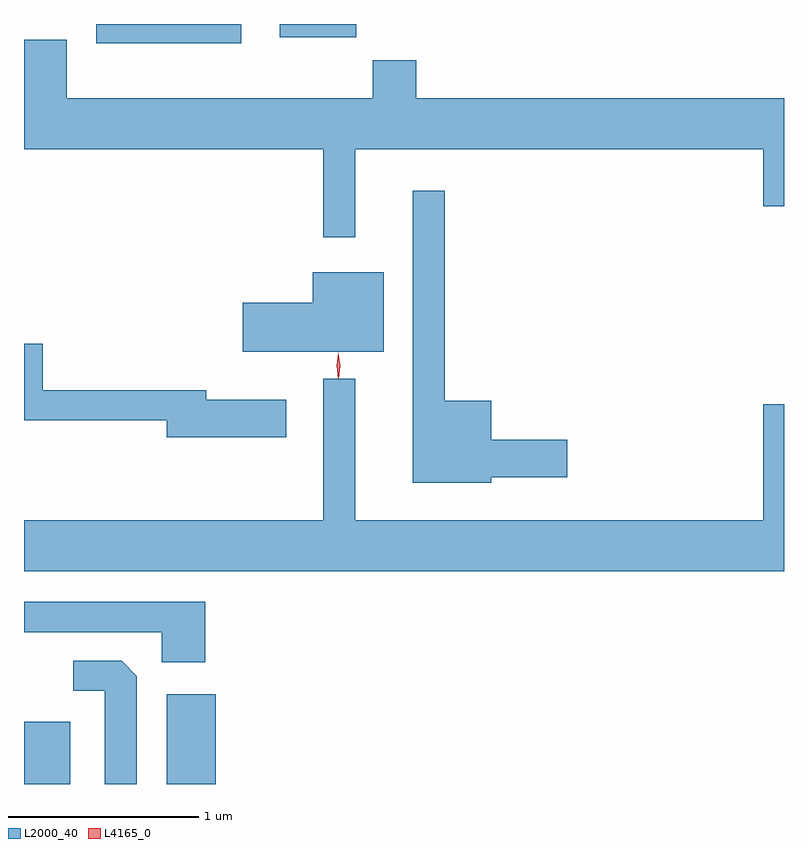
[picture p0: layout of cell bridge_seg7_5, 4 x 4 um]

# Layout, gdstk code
import gdstk
lib = gdstk.Library(unit=1e-6, precision=1e-09)
def R(c, l, rs):  # rectangles x0, y0, x1, y1
    for r in rs: c.add(gdstk.rectangle(r[:2], r[2:], *l))
def P(c, l, *ps):  # polygons
    for p in ps: c.add(gdstk.Polygon(p, *l))
L2000_40 = (2000, 40)
L4165_0 = (4165, 0)

bridge_seg7_5 = lib.new_cell('bridge_seg7_5')
R(bridge_seg7_5, L2000_40, [(1669.725,1757.596,1669.969,1757.924), (1670.476,1757.596,1670.734,1758.069), (1670.106,1761.496,1670.869,1761.596), (1671.071,1761.526,1671.474,1761.596)])
P(bridge_seg7_5, L2000_40, [(1671.469,1760.936),(1673.616,1760.936),(1673.616,1760.636),(1673.725,1760.636),(1673.725,1761.204),(1671.789,1761.204),(1671.789,1761.404),(1671.561,1761.404),(1671.561,1761.204),(1669.949,1761.204),(1669.949,1761.514),(1669.725,1761.514),(1669.725,1760.936),(1671.301,1760.936),(1671.301,1760.473),(1671.469,1760.473)],
  [(1672.184,1759.211),(1672.584,1759.211),(1672.584,1759.409),(1672.184,1759.409),(1672.184,1759.614),(1671.939,1759.614),(1671.939,1760.718),(1671.771,1760.718),(1671.771,1759.181),(1672.184,1759.181)],
  [(1671.619,1760.289),(1671.246,1760.289),(1671.246,1760.129),(1670.876,1760.129),(1670.876,1759.871),(1671.619,1759.871)],
  [(1671.104,1759.619),(1670.684,1759.619),(1670.684,1759.669),(1669.824,1759.669),(1669.824,1759.914),(1669.725,1759.914),(1669.725,1759.511),(1670.476,1759.511),(1670.476,1759.421),(1671.104,1759.421)],
  [(1673.725,1759.594),(1673.616,1759.594),(1673.616,1758.984),(1671.469,1758.984),(1671.469,1759.728),(1671.301,1759.728),(1671.301,1758.984),(1669.725,1758.984),(1669.725,1758.716),(1673.725,1758.716)],
  [(1670.679,1758.554),(1669.725,1758.554),(1669.725,1758.396),(1670.451,1758.396),(1670.451,1758.236),(1670.679,1758.236)],
  [(1670.319,1758.164),(1670.239,1758.244),(1669.983,1758.244),(1669.983,1758.086),(1670.151,1758.086),(1670.151,1757.596),(1670.319,1757.596)])
P(bridge_seg7_5, L4165_0, [(1671.38,1759.733),(1671.38,1759.733),(1671.37,1759.796),(1671.379,1759.859),(1671.379,1759.859),(1671.38,1759.859),(1671.39,1759.796),(1671.381,1759.733)],
  [(1671.38,1759.73),(1671.38,1759.73),(1671.37,1759.798),(1671.379,1759.866),(1671.38,1759.866),(1671.38,1759.866),(1671.39,1759.798),(1671.381,1759.73)])

lib.write_gds('bridge_seg7_5.gds')
